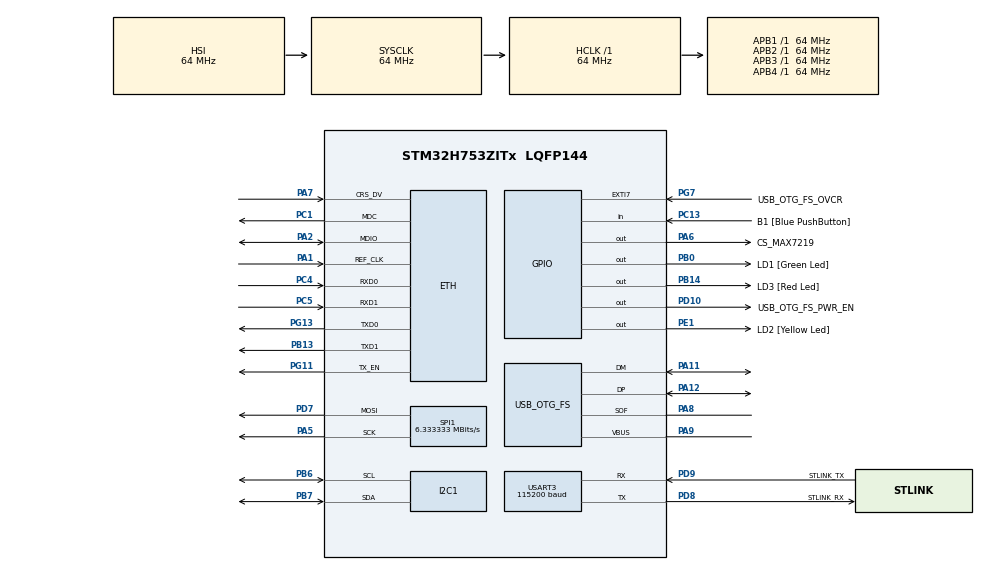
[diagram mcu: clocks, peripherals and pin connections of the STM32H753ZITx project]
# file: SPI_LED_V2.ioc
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CORTEX_M7.CPU_DCache=Disabled
CORTEX_M7.CPU_ICache=Disabled
CORTEX_M7.MPU_Control=__NULL
ETH.MediaInterface=HAL_ETH_RMII_MODE
Mcu.Family=STM32H7
Mcu.Name=STM32H753ZITx
Mcu.Package=LQFP144
NVIC.I2C1_ER_IRQn=true\:0\:0\:false\:false\:true\:true\:true\:true
NVIC.I2C1_EV_IRQn=true\:0\:0\:false\:false\:true\:true\:true\:true
NVIC.PriorityGroup=NVIC_PRIORITYGROUP_4
PA1.Mode=RMII
PA1.Signal=ETH_REF_CLK
PA11.Mode=Device_Only
PA11.Signal=USB_OTG_FS_DM
PA12.Mode=Device_Only
PA12.Signal=USB_OTG_FS_DP
PA2.Mode=RMII
PA2.Signal=ETH_MDIO
PA5.GPIO_Speed=GPIO_SPEED_FREQ_MEDIUM
PA5.Mode=TX_Only_Simplex_Unidirect_Master
PA5.Signal=SPI1_SCK
PA6.GPIO_Label=CS_MAX7219
PA6.PinState=GPIO_PIN_SET
PA6.Signal=GPIO_Output
PA7.Mode=RMII
PA7.Signal=ETH_CRS_DV
PA8.Mode=Activate_SOF_FS
PA8.Signal=USB_OTG_FS_SOF
PA9.Mode=Activate_VBUS
PA9.Signal=USB_OTG_FS_VBUS
PB0.GPIO_Label=LD1 [Green Led]
PB0.Signal=GPIO_Output
PB13.Mode=RMII
PB13.Signal=ETH_TXD1
PB14.GPIO_Label=LD3 [Red Led]
PB14.Signal=GPIO_Output
PB6.Mode=I2C
PB6.Signal=I2C1_SCL
PB7.Mode=I2C
PB7.Signal=I2C1_SDA
PC1.Mode=RMII
PC1.Signal=ETH_MDC
PC13.GPIO_Label=B1 [Blue PushButton]
PC13.Signal=GPIO_Input
PC14-OSC32_IN\ (OSC32_IN).Signal=RCC_OSC32_IN
PC15-OSC32_OUT\ (OSC32_OUT).Signal=RCC_OSC32_OUT
PC4.Mode=RMII
PC4.Signal=ETH_RXD0
PC5.Mode=RMII
PC5.Signal=ETH_RXD1
PD10.GPIO_Label=USB_OTG_FS_PWR_EN
PD10.Signal=GPIO_Output
PD7.GPIO_Speed=GPIO_SPEED_FREQ_MEDIUM
PD7.Mode=TX_Only_Simplex_Unidirect_Master
PD7.Signal=SPI1_MOSI
PD8.GPIO_Label=STLINK_RX
PD8.Mode=Asynchronous
PD8.Signal=USART3_TX
PD9.GPIO_Label=STLINK_TX
PD9.Mode=Asynchronous
PD9.Signal=USART3_RX
PE1.GPIO_Label=LD2 [Yellow Led]
PE1.Signal=GPIO_Output
PG11.Mode=RMII
PG11.Signal=ETH_TX_EN
PG13.Mode=RMII
PG13.Signal=ETH_TXD0
PG7.GPIO_Label=USB_OTG_FS_OVCR
PG7.Signal=GPXTI7
PH0-OSC_IN\ (PH0).Mode=HSE-External-Oscillator
PH0-OSC_IN\ (PH0).Signal=RCC_OSC_IN
PH1-OSC_OUT\ (PH1).Mode=HSE-External-Oscillator
PH1-OSC_OUT\ (PH1).Signal=RCC_OSC_OUT
ProjectManager.HeapSize=0x200
ProjectManager.StackSize=0x400
ProjectManager.TargetToolchain=STM32CubeIDE
RCC.ADCFreq_Value=152000000
RCC.APB1Freq_Value=64000000
RCC.APB2Freq_Value=64000000
RCC.APB3Freq_Value=64000000
RCC.APB4Freq_Value=64000000
RCC.CortexFreq_Value=64000000
RCC.DIVM1=1
RCC.DIVM2=1
RCC.DIVN1=19
RCC.DIVN2=19
RCC.DIVP2=1
RCC.DIVQ1=3
RCC.HCLKFreq_Value=64000000
RCC.HSE_VALUE=8000000
RCC.PLL2FRACN=0
RCC.PLLFRACN=0
RCC.PWR_Regulator_Voltage_Scale=PWR_REGULATOR_VOLTAGE_SCALE2
RCC.SYSCLKFreq_VALUE=64000000
RCC.USBFreq_Value=50666666.666666664
SPI1.BaudRatePrescaler=SPI_BAUDRATEPRESCALER_8
SPI1.CalculateBaudRate=6.333333 MBits/s
SPI1.DataSize=SPI_DATASIZE_8BIT
SPI1.Direction=SPI_DIRECTION_2LINES_TXONLY
SPI1.Mode=SPI_MODE_MASTER
SPI1.VirtualType=VM_MASTER
USART3.AutoBaudRateEnableParam=UART_ADVFEATURE_AUTOBAUDRATE_DISABLE
USART3.BaudRate=115200
USART3.ClockPrescaler=PRESCALER_DIV1
USART3.DMADisableonRxErrorParam=ADVFEATURE_DMA_ENABLEONRXERROR
USART3.DataInvertParam=ADVFEATURE_DATAINV_DISABLE
USART3.FIFOMode=FIFOMODE_DISABLE
USART3.MSBFirstParam=ADVFEATURE_MSBFIRST_DISABLE
USART3.Mode=MODE_TX_RX
USART3.OneBitSampling=UART_ONE_BIT_SAMPLE_DISABLE
USART3.OverSampling=UART_OVERSAMPLING_16
USART3.OverrunDisableParam=ADVFEATURE_OVERRUN_ENABLE
USART3.Parity=PARITY_NONE
USART3.RXFIFOThreshold=RXFIFO_THRESHOLD_1EIGHTHFULL
USART3.RxPinLevelInvertParam=ADVFEATURE_RXINV_DISABLE
USART3.StopBits=STOPBITS_1
USART3.SwapParam=ADVFEATURE_SWAP_DISABLE
USART3.TXFIFOThreshold=TXFIFO_THRESHOLD_1EIGHTHFULL
USART3.TxPinLevelInvertParam=ADVFEATURE_TXINV_DISABLE
USART3.VirtualMode-Asynchronous=VM_ASYNC
USART3.WordLength=WORDLENGTH_8B
USB_OTG_FS.Sof_enable=ENABLE
USB_OTG_FS.VirtualMode=Device_Only
USB_OTG_FS.battery_charging_enable=ENABLE
USB_OTG_FS.low_power_enable=DISABLE
USB_OTG_FS.lpm_enable=DISABLE
USB_OTG_FS.use_dedicated_ep1=DISABLE
USB_OTG_FS.vbus_sensing_enable=ENABLE
VP_MEMORYMAP_VS_MEMORYMAP.Mode=CurAppReg
board=NUCLEO-H753ZI

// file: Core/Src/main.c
/* USER CODE BEGIN Header */
/**
  ******************************************************************************
  * @file           : main.c
  * @brief          : Main program body
  ******************************************************************************
  * @attention
  *
  * Copyright (c) 2024 STMicroelectronics.
  * All rights reserved.
  *
  * This software is licensed under terms that can be found in the LICENSE file
  * in the root directory of this software component.
  * If no LICENSE file comes with this software, it is provided AS-IS.
  *
  ******************************************************************************
  */
/* USER CODE END Header */
#include "main.h"
#include "string.h"

/* USER CODE BEGIN PTD */

#define PCF8591_ADDRESS 0x48 << 1

#define MAX7219_REG_NOOP        0x00  // No operation
#define MAX7219_REG_DIGIT0      0x01
#define MAX7219_REG_DECODEMODE  0x09  // Decode mode (0 = no decode, 1 = BCD decode)
#define MAX7219_REG_INTENSITY   0x0A  // Intensity (0-15)
#define MAX7219_REG_SCANLIMIT   0x0B  // Scan limit (0-7)
#define MAX7219_REG_SHUTDOWN    0x0C  // Shutdown (0 = shutdown, 1 = normal operation)
#define MAX7219_REG_DISPLAYTEST 0x0F  // Display test (0 = off, 1 = on)
/* USER CODE END PTD */

/* USER CODE BEGIN PD */
// PCF8591 I2C address (shifted for STM32 HAL)

/* USER CODE END PD */

#if defined ( __ICCARM__ ) /*!< IAR Compiler */
#pragma location=0x30040000
ETH_DMADescTypeDef  DMARxDscrTab[ETH_RX_DESC_CNT]; /* Ethernet Rx DMA Descriptors */
#pragma location=0x30040060
ETH_DMADescTypeDef  DMATxDscrTab[ETH_TX_DESC_CNT]; /* Ethernet Tx DMA Descriptors */

#elif defined ( __CC_ARM )  /* MDK ARM Compiler */

__attribute__((at(0x30040000))) ETH_DMADescTypeDef  DMARxDscrTab[ETH_RX_DESC_CNT]; /* Ethernet Rx DMA Descriptors */
__attribute__((at(0x30040060))) ETH_DMADescTypeDef  DMATxDscrTab[ETH_TX_DESC_CNT]; /* Ethernet Tx DMA Descriptors */

#elif defined ( __GNUC__ ) /* GNU Compiler */

ETH_DMADescTypeDef DMARxDscrTab[ETH_RX_DESC_CNT] __attribute__((section(".RxDecripSection"))); /* Ethernet Rx DMA Descriptors */
ETH_DMADescTypeDef DMATxDscrTab[ETH_TX_DESC_CNT] __attribute__((section(".TxDecripSection")));   /* Ethernet Tx DMA Descriptors */
#endif

ETH_TxPacketConfig TxConfig;

ETH_HandleTypeDef heth;

I2C_HandleTypeDef hi2c1;

SPI_HandleTypeDef hspi1;

UART_HandleTypeDef huart3;

PCD_HandleTypeDef hpcd_USB_OTG_FS;

void SystemClock_Config(void);
static void MX_GPIO_Init(void);
static void MX_SPI1_Init(void);
static void MX_USART3_UART_Init(void);
static void MX_USB_OTG_FS_PCD_Init(void);
static void MX_I2C1_Init(void);
static void MX_ETH_Init(void);
void MAX7219_Init(void);
void MAX7219_Init(void);
/* USER CODE BEGIN PFP */

uint8_t PCF8591_ReadAnalog(uint8_t channel);
void SendMessage(uint8_t value, uint8_t port);

/* USER CODE END PFP */

/* USER CODE BEGIN 0 */
int counter = 0;
int ledStatus = 0;

char rx_buffer[8];
char execute_flag = '0';

char displayChar = ' ';
int analogicValue = 0;

const uint8_t ascii_font[59][8] = {
    // 'A' (ASCII 65)
    {0x18, 0x3C, 0x66, 0x7E, 0x66, 0x66, 0x66, 0x00},
    // 'B' (ASCII 66)
    {0x7C, 0x66, 0x66, 0x7C, 0x66, 0x66, 0x7C, 0x00},
    // 'C' (ASCII 67)
    {0x3C, 0x66, 0x60, 0x60, 0x60, 0x66, 0x3C, 0x00},
    // 'D' (ASCII 68)
    {0x78, 0x6C, 0x66, 0x66, 0x66, 0x6C, 0x78, 0x00},
    // 'E' (ASCII 69)
    {0x7E, 0x60, 0x60, 0x7C, 0x60, 0x60, 0x7E, 0x00},
    // 'F' (ASCII 70)
    {0x7E, 0x60, 0x60, 0x7C, 0x60, 0x60, 0x60, 0x00},
    // 'G' (ASCII 71)
    {0x3C, 0x66, 0x60, 0x6E, 0x66, 0x66, 0x3E, 0x00},
    // 'H' (ASCII 72)
    {0x66, 0x66, 0x66, 0x7E, 0x66, 0x66, 0x66, 0x00},
    // 'I' (ASCII 73)
    {0x3C, 0x18, 0x18, 0x18, 0x18, 0x18, 0x3C, 0x00},
    // 'J' (ASCII 74)
    {0x1E, 0x0C, 0x0C, 0x0C, 0x0C, 0x6C, 0x38, 0x00},
    // 'K' (ASCII 75)
    {0x66, 0x6C, 0x78, 0x70, 0x78, 0x6C, 0x66, 0x00},
    // 'L' (ASCII 76)
    {0x60, 0x60, 0x60, 0x60, 0x60, 0x60, 0x7E, 0x00},
    // 'M' (ASCII 77)
    {0x66, 0x7E, 0x7E, 0x6E, 0x66, 0x66, 0x66, 0x00},
    // 'N' (ASCII 78)
    {0x66, 0x76, 0x7E, 0x7E, 0x6E, 0x66, 0x66, 0x00},
    // 'O' (ASCII 79)
    {0x3C, 0x66, 0x66, 0x66, 0x66, 0x66, 0x3C, 0x00},
    // 'P' (ASCII 80)
    {0x7C, 0x66, 0x66, 0x7C, 0x60, 0x60, 0x60, 0x00},
    // 'Q' (ASCII 81)
    {0x3C, 0x66, 0x66, 0x66, 0x66, 0x6C, 0x36, 0x00},
    // 'R' (ASCII 82)
    {0x7C, 0x66, 0x66, 0x7C, 0x78, 0x6C, 0x66, 0x00},
    // 'S' (ASCII 83)
    {0x3E, 0x60, 0x60, 0x3C, 0x06, 0x06, 0x7C, 0x00},
    // 'T' (ASCII 84)
    {0x7E, 0x18, 0x18, 0x18, 0x18, 0x18, 0x18, 0x00},
    // 'U' (ASCII 85)
    {0x66, 0x66, 0x66, 0x66, 0x66, 0x66, 0x3C, 0x00},
    // 'V' (ASCII 86)
    {0x66, 0x66, 0x66, 0x66, 0x66, 0x3C, 0x18, 0x00},
    // 'W' (ASCII 87)
    {0x66, 0x66, 0x66, 0x6E, 0x7E, 0x7E, 0x66, 0x00},
    // 'X' (ASCII 88)
    {0x66, 0x66, 0x3C, 0x18, 0x3C, 0x66, 0x66, 0x00},
    // 'Y' (ASCII 89)
    {0x66, 0x66, 0x66, 0x3C, 0x18, 0x18, 0x18, 0x00},
    // 'Z' (ASCII 90)
    {0x7E, 0x06, 0x0C, 0x18, 0x30, 0x60, 0x7E, 0x00},
};

const uint8_t ascii_especial_font[2][8] = {
	// '-' (ASCII 45)
	{0x00, 0x00, 0x00, 0x7E, 0x00, 0x00, 0x00, 0x00},
	// '+' (ASCII 43)
	{0x18, 0x18, 0x18, 0x7E, 0x18, 0x18, 0x18, 0x00},
};

/* USER CODE END 0 */

int main(void)
{

  /* MCU Configuration--------------------------------------------------------*/

  /* Reset of all peripherals, Initializes the Flash interface and the Systick. */
  HAL_Init();

  /* Configure the system clock */
  SystemClock_Config();

  /* Initialize all configured peripherals */
  MX_GPIO_Init();
  MX_SPI1_Init();
  MX_USART3_UART_Init();
  MX_USB_OTG_FS_PCD_Init();
  MX_I2C1_Init();
  MX_ETH_Init();
  MAX7219_Init();
  /* USER CODE BEGIN 2 */

  HAL_UART_Receive_IT(&huart3, rx_buffer, sizeof(rx_buffer));

  /* USER CODE END 2 */

  /* Infinite loop */
  while (1)
  {

    /* USER CODE BEGIN 3 */

	  if(displayChar == 'L')
	  	{
	  		uint8_t Analogic = 0;
	  		uint8_t LDR = PCF8591_ReadAnalog(Analogic);
	  		DisplaySync(displayChar, LDR);
	  	}
	  	if(displayChar == 'T')
	  	{
	  		uint8_t Analogic = 1;
	  		uint8_t Temp = PCF8591_ReadAnalog(Analogic);
	  		DisplaySync(displayChar, Temp);
	  	}
	  	if(displayChar == 'V')
	  	{
	  		uint8_t Analogic = 3;
	  		uint8_t Volt = PCF8591_ReadAnalog(Analogic);
	  		DisplaySync(displayChar, Volt);
	  	}

		 //ExecuteProgram();

  }
  /* USER CODE END 3 */
}

void SystemClock_Config(void)
{
  RCC_OscInitTypeDef RCC_OscInitStruct = {0};
  RCC_ClkInitTypeDef RCC_ClkInitStruct = {0};

  /** Supply configuration update enable
  */
  HAL_PWREx_ConfigSupply(PWR_LDO_SUPPLY);

  /** Configure the main internal regulator output voltage
  */
  __HAL_PWR_VOLTAGESCALING_CONFIG(PWR_REGULATOR_VOLTAGE_SCALE2);

  while(!__HAL_PWR_GET_FLAG(PWR_FLAG_VOSRDY)) {}

  /** Initializes the RCC Oscillators according to the specified parameters
  * in the RCC_OscInitTypeDef structure.
  */
  RCC_OscInitStruct.OscillatorType = RCC_OSCILLATORTYPE_HSI|RCC_OSCILLATORTYPE_HSE;
  RCC_OscInitStruct.HSEState = RCC_HSE_ON;
  RCC_OscInitStruct.HSIState = RCC_HSI_DIV1;
  RCC_OscInitStruct.HSICalibrationValue = RCC_HSICALIBRATION_DEFAULT;
  RCC_OscInitStruct.PLL.PLLState = RCC_PLL_ON;
  RCC_OscInitStruct.PLL.PLLSource = RCC_PLLSOURCE_HSE;
  RCC_OscInitStruct.PLL.PLLM = 1;
  RCC_OscInitStruct.PLL.PLLN = 19;
  RCC_OscInitStruct.PLL.PLLP = 2;
  RCC_OscInitStruct.PLL.PLLQ = 3;
  RCC_OscInitStruct.PLL.PLLR = 2;
  RCC_OscInitStruct.PLL.PLLRGE = RCC_PLL1VCIRANGE_3;
  RCC_OscInitStruct.PLL.PLLVCOSEL = RCC_PLL1VCOMEDIUM;
  RCC_OscInitStruct.PLL.PLLFRACN = 0;
  if (HAL_RCC_OscConfig(&RCC_OscInitStruct) != HAL_OK)
  {
    Error_Handler();
  }

  /** Initializes the CPU, AHB and APB buses clocks
  */
  RCC_ClkInitStruct.ClockType = RCC_CLOCKTYPE_HCLK|RCC_CLOCKTYPE_SYSCLK
                              |RCC_CLOCKTYPE_PCLK1|RCC_CLOCKTYPE_PCLK2
                              |RCC_CLOCKTYPE_D3PCLK1|RCC_CLOCKTYPE_D1PCLK1;
  RCC_ClkInitStruct.SYSCLKSource = RCC_SYSCLKSOURCE_HSI;
  RCC_ClkInitStruct.SYSCLKDivider = RCC_SYSCLK_DIV1;
  RCC_ClkInitStruct.AHBCLKDivider = RCC_HCLK_DIV1;
  RCC_ClkInitStruct.APB3CLKDivider = RCC_APB3_DIV1;
  RCC_ClkInitStruct.APB1CLKDivider = RCC_APB1_DIV1;
  RCC_ClkInitStruct.APB2CLKDivider = RCC_APB2_DIV1;
  RCC_ClkInitStruct.APB4CLKDivider = RCC_APB4_DIV1;

  if (HAL_RCC_ClockConfig(&RCC_ClkInitStruct, FLASH_LATENCY_1) != HAL_OK)
  {
    Error_Handler();
  }
}

static void MX_ETH_Init(void)
{

   static uint8_t MACAddr[6];

  heth.Instance = ETH;
  MACAddr[0] = 0x00;
  MACAddr[1] = 0x80;
  MACAddr[2] = 0xE1;
  MACAddr[3] = 0x00;
  MACAddr[4] = 0x00;
  MACAddr[5] = 0x00;
  heth.Init.MACAddr = &MACAddr[0];
  heth.Init.MediaInterface = HAL_ETH_RMII_MODE;
  heth.Init.TxDesc = DMATxDscrTab;
  heth.Init.RxDesc = DMARxDscrTab;
  heth.Init.RxBuffLen = 1524;

  if (HAL_ETH_Init(&heth) != HAL_OK)
  {
    Error_Handler();
  }

  memset(&TxConfig, 0 , sizeof(ETH_TxPacketConfig));
  TxConfig.Attributes = ETH_TX_PACKETS_FEATURES_CSUM | ETH_TX_PACKETS_FEATURES_CRCPAD;
  TxConfig.ChecksumCtrl = ETH_CHECKSUM_IPHDR_PAYLOAD_INSERT_PHDR_CALC;
  TxConfig.CRCPadCtrl = ETH_CRC_PAD_INSERT;

}

static void MX_I2C1_Init(void)
{

  hi2c1.Instance = I2C1;
  hi2c1.Init.Timing = 0x10707DBC;
  hi2c1.Init.OwnAddress1 = 0;
  hi2c1.Init.AddressingMode = I2C_ADDRESSINGMODE_7BIT;
  hi2c1.Init.DualAddressMode = I2C_DUALADDRESS_DISABLE;
  hi2c1.Init.OwnAddress2 = 0;
  hi2c1.Init.OwnAddress2Masks = I2C_OA2_NOMASK;
  hi2c1.Init.GeneralCallMode = I2C_GENERALCALL_DISABLE;
  hi2c1.Init.NoStretchMode = I2C_NOSTRETCH_DISABLE;
  if (HAL_I2C_Init(&hi2c1) != HAL_OK)
  {
    Error_Handler();
  }

  /** Configure Analogue filter
  */
  if (HAL_I2CEx_ConfigAnalogFilter(&hi2c1, I2C_ANALOGFILTER_ENABLE) != HAL_OK)
  {
    Error_Handler();
  }

  /** Configure Digital filter
  */
  if (HAL_I2CEx_ConfigDigitalFilter(&hi2c1, 0) != HAL_OK)
  {
    Error_Handler();
  }

}

static void MX_SPI1_Init(void)
{

  /* SPI1 parameter configuration*/
  hspi1.Instance = SPI1;
  hspi1.Init.Mode = SPI_MODE_MASTER;
  hspi1.Init.Direction = SPI_DIRECTION_2LINES_TXONLY;
  hspi1.Init.DataSize = SPI_DATASIZE_8BIT;
  hspi1.Init.CLKPolarity = SPI_POLARITY_LOW;
  hspi1.Init.CLKPhase = SPI_PHASE_1EDGE;
  hspi1.Init.NSS = SPI_NSS_SOFT;
  hspi1.Init.BaudRatePrescaler = SPI_BAUDRATEPRESCALER_8;
  hspi1.Init.FirstBit = SPI_FIRSTBIT_MSB;
  hspi1.Init.TIMode = SPI_TIMODE_DISABLE;
  hspi1.Init.CRCCalculation = SPI_CRCCALCULATION_DISABLE;
  hspi1.Init.CRCPolynomial = 0x0;
  hspi1.Init.NSSPMode = SPI_NSS_PULSE_ENABLE;
  hspi1.Init.NSSPolarity = SPI_NSS_POLARITY_LOW;
  hspi1.Init.FifoThreshold = SPI_FIFO_THRESHOLD_01DATA;
  hspi1.Init.TxCRCInitializationPattern = SPI_CRC_INITIALIZATION_ALL_ZERO_PATTERN;
  hspi1.Init.RxCRCInitializationPattern = SPI_CRC_INITIALIZATION_ALL_ZERO_PATTERN;
  hspi1.Init.MasterSSIdleness = SPI_MASTER_SS_IDLENESS_00CYCLE;
  hspi1.Init.MasterInterDataIdleness = SPI_MASTER_INTERDATA_IDLENESS_00CYCLE;
  hspi1.Init.MasterReceiverAutoSusp = SPI_MASTER_RX_AUTOSUSP_DISABLE;
  hspi1.Init.MasterKeepIOState = SPI_MASTER_KEEP_IO_STATE_DISABLE;
  hspi1.Init.IOSwap = SPI_IO_SWAP_DISABLE;
  if (HAL_SPI_Init(&hspi1) != HAL_OK)
  {
    Error_Handler();
  }

}

static void MX_USART3_UART_Init(void)
{

  huart3.Instance = USART3;
  huart3.Init.BaudRate = 115200;
  huart3.Init.WordLength = UART_WORDLENGTH_8B;
  huart3.Init.StopBits = UART_STOPBITS_1;
  huart3.Init.Parity = UART_PARITY_NONE;
  huart3.Init.Mode = UART_MODE_TX_RX;
  huart3.Init.HwFlowCtl = UART_HWCONTROL_NONE;
  huart3.Init.OverSampling = UART_OVERSAMPLING_16;
  huart3.Init.OneBitSampling = UART_ONE_BIT_SAMPLE_DISABLE;
  huart3.Init.ClockPrescaler = UART_PRESCALER_DIV1;
  huart3.AdvancedInit.AdvFeatureInit = UART_ADVFEATURE_NO_INIT;
  if (HAL_UART_Init(&huart3) != HAL_OK)
  {
    Error_Handler();
  }
  if (HAL_UARTEx_SetTxFifoThreshold(&huart3, UART_TXFIFO_THRESHOLD_1_8) != HAL_OK)
  {
    Error_Handler();
  }
  if (HAL_UARTEx_SetRxFifoThreshold(&huart3, UART_RXFIFO_THRESHOLD_1_8) != HAL_OK)
  {
    Error_Handler();
  }
  if (HAL_UARTEx_DisableFifoMode(&huart3) != HAL_OK)
  {
    Error_Handler();
  }

}

static void MX_USB_OTG_FS_PCD_Init(void)
{

  hpcd_USB_OTG_FS.Instance = USB_OTG_FS;
  hpcd_USB_OTG_FS.Init.dev_endpoints = 9;
  hpcd_USB_OTG_FS.Init.speed = PCD_SPEED_FULL;
  hpcd_USB_OTG_FS.Init.dma_enable = DISABLE;
  hpcd_USB_OTG_FS.Init.phy_itface = PCD_PHY_EMBEDDED;
  hpcd_USB_OTG_FS.Init.Sof_enable = ENABLE;
  hpcd_USB_OTG_FS.Init.low_power_enable = DISABLE;
  hpcd_USB_OTG_FS.Init.lpm_enable = DISABLE;
  hpcd_USB_OTG_FS.Init.battery_charging_enable = ENABLE;
  hpcd_USB_OTG_FS.Init.vbus_sensing_enable = ENABLE;
  hpcd_USB_OTG_FS.Init.use_dedicated_ep1 = DISABLE;
  if (HAL_PCD_Init(&hpcd_USB_OTG_FS) != HAL_OK)
  {
    Error_Handler();
  }

}

static void MX_GPIO_Init(void)
{
  GPIO_InitTypeDef GPIO_InitStruct = {0};

  /* GPIO Ports Clock Enable */
  __HAL_RCC_GPIOC_CLK_ENABLE();
  __HAL_RCC_GPIOH_CLK_ENABLE();
  __HAL_RCC_GPIOA_CLK_ENABLE();
  __HAL_RCC_GPIOB_CLK_ENABLE();
  __HAL_RCC_GPIOD_CLK_ENABLE();
  __HAL_RCC_GPIOG_CLK_ENABLE();
  __HAL_RCC_GPIOE_CLK_ENABLE();

  /*Configure GPIO pin Output Level */
  HAL_GPIO_WritePin(CS_MAX7219_GPIO_Port, CS_MAX7219_Pin, GPIO_PIN_SET);

  /*Configure GPIO pin Output Level */
  HAL_GPIO_WritePin(GPIOB, LD1_Pin|LD3_Pin, GPIO_PIN_RESET);

  /*Configure GPIO pin Output Level */
  HAL_GPIO_WritePin(USB_OTG_FS_PWR_EN_GPIO_Port, USB_OTG_FS_PWR_EN_Pin, GPIO_PIN_RESET);

  /*Configure GPIO pin Output Level */
  HAL_GPIO_WritePin(LD2_GPIO_Port, LD2_Pin, GPIO_PIN_RESET);

  /*Configure GPIO pin : B1_Pin */
  GPIO_InitStruct.Pin = B1_Pin;
  GPIO_InitStruct.Mode = GPIO_MODE_INPUT;
  GPIO_InitStruct.Pull = GPIO_NOPULL;
  HAL_GPIO_Init(B1_GPIO_Port, &GPIO_InitStruct);

  /*Configure GPIO pin : CS_MAX7219_Pin */
  GPIO_InitStruct.Pin = CS_MAX7219_Pin;
  GPIO_InitStruct.Mode = GPIO_MODE_OUTPUT_PP;
  GPIO_InitStruct.Pull = GPIO_NOPULL;
  GPIO_InitStruct.Speed = GPIO_SPEED_FREQ_LOW;
  HAL_GPIO_Init(CS_MAX7219_GPIO_Port, &GPIO_InitStruct);

  /*Configure GPIO pins : LD1_Pin LD3_Pin */
  GPIO_InitStruct.Pin = LD1_Pin|LD3_Pin;
  GPIO_InitStruct.Mode = GPIO_MODE_OUTPUT_PP;
  GPIO_InitStruct.Pull = GPIO_NOPULL;
  GPIO_InitStruct.Speed = GPIO_SPEED_FREQ_LOW;
  HAL_GPIO_Init(GPIOB, &GPIO_InitStruct);

  /*Configure GPIO pin : USB_OTG_FS_PWR_EN_Pin */
  GPIO_InitStruct.Pin = USB_OTG_FS_PWR_EN_Pin;
  GPIO_InitStruct.Mode = GPIO_MODE_OUTPUT_PP;
  GPIO_InitStruct.Pull = GPIO_NOPULL;
  GPIO_InitStruct.Speed = GPIO_SPEED_FREQ_LOW;
  HAL_GPIO_Init(USB_OTG_FS_PWR_EN_GPIO_Port, &GPIO_InitStruct);

  /*Configure GPIO pin : USB_OTG_FS_OVCR_Pin */
  GPIO_InitStruct.Pin = USB_OTG_FS_OVCR_Pin;
  GPIO_InitStruct.Mode = GPIO_MODE_IT_RISING;
  GPIO_InitStruct.Pull = GPIO_NOPULL;
  HAL_GPIO_Init(USB_OTG_FS_OVCR_GPIO_Port, &GPIO_InitStruct);

  /*Configure GPIO pin : LD2_Pin */
  GPIO_InitStruct.Pin = LD2_Pin;
  GPIO_InitStruct.Mode = GPIO_MODE_OUTPUT_PP;
  GPIO_InitStruct.Pull = GPIO_NOPULL;
  GPIO_InitStruct.Speed = GPIO_SPEED_FREQ_LOW;
  HAL_GPIO_Init(LD2_GPIO_Port, &GPIO_InitStruct);

}

/* USER CODE BEGIN 4 */

void HAL_GPIO_EXTI_Callback(uint16_t GPIO_Pin)
{
  if (GPIO_Pin == GPIO_PIN_13)
  {
	  counter++;
  }
}

void HAL_UART_RxCpltCallback(UART_HandleTypeDef *huart)
{
	if (strncmp(rx_buffer, "Read_AN0", 8) == 0)
	{
		uint8_t Analogic = 0;
		uint8_t LDR = PCF8591_ReadAnalog(Analogic);

		SendMessage(LDR, Analogic);
	}

	if (strncmp(rx_buffer, "Read_AN1", 8) == 0)
	{
		uint8_t Analogic = 1;
		uint8_t Temp = PCF8591_ReadAnalog(Analogic);

		SendMessage(Temp, Analogic);
	}

	if (strncmp(rx_buffer, "Read_AN3", 8) == 0)
	{
		uint8_t Analogic = 3;
		uint8_t Volt = PCF8591_ReadAnalog(Analogic);

		SendMessage(Volt, Analogic);
	}

	// LED MATRIX UART SELECTION

	if (strncmp(rx_buffer, "Read_LDR", 8) == 0)
	{
		displayChar = 'L';
	}

	if (strncmp(rx_buffer, "Read_Tem", 8) == 0)
	{
		displayChar = 'T';
	}

	if (strncmp(rx_buffer, "Read_Vol", 8) == 0)
	{
		displayChar = 'V';
	}

	HAL_UART_Receive_IT(&huart3, rx_buffer, sizeof(rx_buffer));
}

void SendMessage(uint8_t value, uint8_t port)
{
	char message[10];

	sprintf(message, "AIN%d: %d\r\n", port, value);

	HAL_UART_Transmit_IT(&huart3, (uint8_t*)message, strlen(message));
}

void MAX7219_SendData(uint8_t reg, uint8_t data)
{
	uint8_t txData[2] = {reg, data};
	HAL_GPIO_WritePin(CS_MAX7219_GPIO_Port, CS_MAX7219_Pin, GPIO_PIN_RESET); // Pull CS low
	HAL_SPI_Transmit(&hspi1, txData, 2, HAL_MAX_DELAY); // Transmit register and data
	HAL_GPIO_WritePin(CS_MAX7219_GPIO_Port, CS_MAX7219_Pin, GPIO_PIN_SET); // Pull CS high
}

void DisplayCharacter(uint8_t character)
{
	uint8_t charIndex = character - 65; // ASCII offset

	for (int i = 0; i < 8; i++) {
		MAX7219_SendData(MAX7219_REG_DIGIT0 + i, ascii_font[charIndex][i]);
	}
}

void DisplayEspecialCharacter(uint8_t character)
{
	uint8_t charIndex = character; // ASCII offset

	for (int i = 0; i < 8; i++) {
		MAX7219_SendData(MAX7219_REG_DIGIT0 + i, ascii_especial_font[charIndex][i]);
	}
}

void DisplaySync(char displayChar, uint8_t value)
{
	if(value < 128)
	{
		DisplayCharacter(displayChar);
		HAL_Delay(500);
		DisplayEspecialCharacter(0);
		HAL_Delay(500);
	}
	else
	{
		DisplayCharacter(displayChar);
		HAL_Delay(500);
		DisplayEspecialCharacter(1);
		HAL_Delay(500);
	}
}

uint8_t PCF8591_ReadAnalog(uint8_t channel)
{
	uint8_t config_byte = 0x40 | (channel & 0x03); // Select the channel (A0, A1, A2, A3)
	uint8_t analog_data[2];

	// Send configuration byte to select the ADC channel
	HAL_I2C_Master_Transmit(&hi2c1, PCF8591_ADDRESS, &config_byte, 1, 1000);

	// Read two bytes: first byte is a dummy, second byte is the actual analog value
	HAL_I2C_Master_Receive(&hi2c1, PCF8591_ADDRESS, analog_data, 2, 1000);

	// Return the second byte which contains the valid ADC reading
	return analog_data[1];
}

void MAX7219_Init(void) {
    // Desativar modo de teste
    MAX7219_SendData(MAX7219_REG_DISPLAYTEST, 0x00);
    // Configurar para modo de exibição normal
    MAX7219_SendData(MAX7219_REG_SHUTDOWN, 0x01);
    // Configurar decodificação para 0 (modo gráfico)
    MAX7219_SendData(MAX7219_REG_DECODEMODE, 0x00);
    // Configurar brilho (0x00 a 0x0F, 0x0F é o mais brilhante)
    MAX7219_SendData(MAX7219_REG_INTENSITY, 0x08);
    // Configurar limite de escaneamento (todas as 8 linhas ativas)
    MAX7219_SendData(MAX7219_REG_SCANLIMIT, 0x07);
}

/* USER CODE END 4 */

void Error_Handler(void)
{
  __disable_irq();
  while (1)
  {
  }
}
